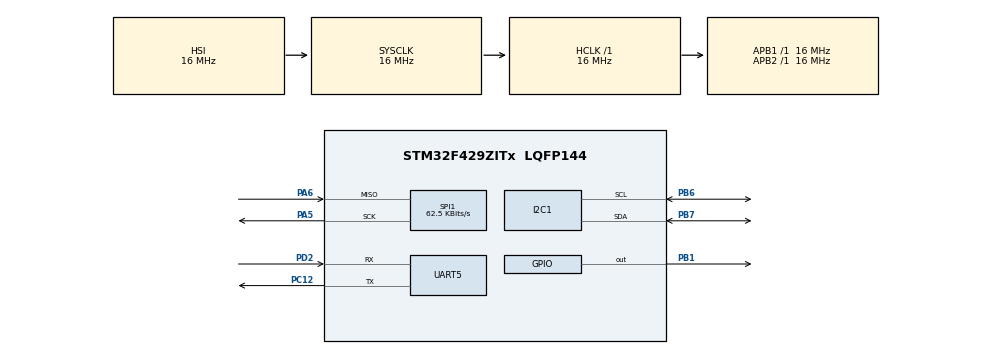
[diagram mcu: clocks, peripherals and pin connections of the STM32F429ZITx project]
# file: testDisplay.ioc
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Mcu.Family=STM32F4
Mcu.Name=STM32F429ZITx
Mcu.Package=LQFP144
NVIC.PriorityGroup=NVIC_PRIORITYGROUP_4
PA13.Mode=Serial_Wire
PA13.Signal=SYS_JTMS-SWDIO
PA14.Mode=Serial_Wire
PA14.Signal=SYS_JTCK-SWCLK
PA5.Mode=RX_Only_Simplex_Unidirect_Master
PA5.Signal=SPI1_SCK
PA6.Mode=RX_Only_Simplex_Unidirect_Master
PA6.Signal=SPI1_MISO
PB1.Signal=GPIO_Output
PB6.Mode=I2C
PB6.Signal=I2C1_SCL
PB7.Mode=I2C
PB7.Signal=I2C1_SDA
PC12.Mode=Asynchronous
PC12.Signal=UART5_TX
PD2.Mode=Asynchronous
PD2.Signal=UART5_RX
ProjectManager.HeapSize=0x200
ProjectManager.StackSize=0x400
ProjectManager.TargetToolchain=STM32CubeIDE
RCC.AHBFreq_Value=16000000
RCC.APB1Freq_Value=16000000
RCC.APB2Freq_Value=16000000
RCC.CortexFreq_Value=16000000
RCC.HSE_VALUE=25000000
RCC.HSI_VALUE=16000000
RCC.LSE_VALUE=32768
RCC.SYSCLKFreq_VALUE=16000000
RCC.VCOOutputFreq_Value=192000000
SPI1.BaudRatePrescaler=SPI_BAUDRATEPRESCALER_256
SPI1.CRCCalculation=SPI_CRCCALCULATION_DISABLE
SPI1.CalculateBaudRate=62.5 KBits/s
SPI1.DataSize=SPI_DATASIZE_16BIT
SPI1.Direction=SPI_DIRECTION_2LINES_RXONLY
SPI1.Mode=SPI_MODE_MASTER
SPI1.VirtualType=VM_MASTER
UART5.VirtualMode=Asynchronous
board=custom

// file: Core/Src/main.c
/* USER CODE BEGIN Header */
/**
  ******************************************************************************
  * @file           : main.c
  * @brief          : Main program body
  ******************************************************************************
  * @attention
  *
  * Copyright (c) 2025 STMicroelectronics.
  * All rights reserved.
  *
  * This software is licensed under terms that can be found in the LICENSE file
  * in the root directory of this software component.
  * If no LICENSE file comes with this software, it is provided AS-IS.
  *
  ******************************************************************************
  */
/* USER CODE END Header */
#include "main.h"

/* USER CODE BEGIN Includes */
#include "MAX6675.h"
#include "string.h"
/* USER CODE END Includes */

I2C_HandleTypeDef hi2c1;

extern SPI_HandleTypeDef hspi1;

UART_HandleTypeDef huart5;

/* USER CODE BEGIN PV */
float temp=0;
uint8_t temp_uint8;
/* USER CODE END PV */

void SystemClock_Config(void);
static void MX_GPIO_Init(void);
static void MX_I2C1_Init(void);
static void MX_UART5_Init(void);
static void MX_SPI1_Init(void);

/* USER CODE BEGIN 0 */
#include <string.h>
#include <stdio.h>

#define LCD_ADDR (0x27 << 1)

#define PIN_RS    (1 << 0)
#define PIN_EN    (1 << 2)
#define BACKLIGHT (1 << 3)

#define LCD_DELAY_MS 5

void I2C_Scan() {
    char info[] = "Scanning I2C bus...\r\n";
    HAL_UART_Transmit(&huart5, (uint8_t*)info, strlen(info), HAL_MAX_DELAY);

    HAL_StatusTypeDef res;
    for(uint16_t i = 0; i < 128; i++) {
        res = HAL_I2C_IsDeviceReady(&hi2c1, i << 1, 1, 10);
        if(res == HAL_OK) {
            char msg[64];
            snprintf(msg, sizeof(msg), "0x%02X", i);
            HAL_UART_Transmit(&huart5, (uint8_t*)msg, strlen(msg), HAL_MAX_DELAY);
        } else {
            HAL_UART_Transmit(&huart5, (uint8_t*)".", 1, HAL_MAX_DELAY);
        }
    }

    HAL_UART_Transmit(&huart5, (uint8_t*)"\r\n", 2, HAL_MAX_DELAY);
}

HAL_StatusTypeDef LCD_SendInternal(uint8_t lcd_addr, uint8_t data, uint8_t flags) {
    HAL_StatusTypeDef res;
    for(;;) {
        res = HAL_I2C_IsDeviceReady(&hi2c1, lcd_addr, 1, HAL_MAX_DELAY);
        if(res == HAL_OK)
            break;
    }

    uint8_t up = data & 0xF0;
    uint8_t lo = (data << 4) & 0xF0;

    uint8_t data_arr[4];
    data_arr[0] = up|flags|BACKLIGHT|PIN_EN;
    data_arr[1] = up|flags|BACKLIGHT;
    data_arr[2] = lo|flags|BACKLIGHT|PIN_EN;
    data_arr[3] = lo|flags|BACKLIGHT;

    res = HAL_I2C_Master_Transmit(&hi2c1, lcd_addr, data_arr, sizeof(data_arr), HAL_MAX_DELAY);
    HAL_Delay(LCD_DELAY_MS);
    return res;
}

void LCD_SendCommand(uint8_t lcd_addr, uint8_t cmd) {
    LCD_SendInternal(lcd_addr, cmd, 0);
}

void LCD_SendData(uint8_t lcd_addr, uint8_t data) {
    LCD_SendInternal(lcd_addr, data, PIN_RS);
}

void LCD_Init(uint8_t lcd_addr) {
    // 4-bit mode, 2 lines, 5x7 format
    LCD_SendCommand(lcd_addr, 0b00110000);
    // display & cursor home (keep this!)
    LCD_SendCommand(lcd_addr, 0b00000010);
    // display on, right shift, underline off, blink off
    LCD_SendCommand(lcd_addr, 0b00001100);
    // clear display (optional here)
    LCD_SendCommand(lcd_addr, 0b00000001);
}

void LCD_SendString(uint8_t lcd_addr, char *str) {
    while(*str) {
        LCD_SendData(lcd_addr, (uint8_t)(*str));
        str++;
    }
}

void init() {
    I2C_Scan();
    LCD_Init(LCD_ADDR);

    // set address to 0x00
    LCD_SendCommand(LCD_ADDR, 0b10000000);
    LCD_SendString(LCD_ADDR, " Using 1602 LCD");

    // set address to 0x40

}

void IntToString(int value, char* buffer) {
    // Указатель на текущую позицию в буфере
    char* ptr = buffer;

    // Обработка отрицательных значений
    if (value < 0) {
        *ptr++ = '-';
        value = -value; // Делаем значение положительным для дальнейших расчетов
    }

    // Получение целых цифр
    int temp = value;
    int digits = 0;

    // Подсчет количества цифр
    do {
        digits++;
        temp /= 10;
    } while (temp > 0);

    // Заполнение буфера с конца
    ptr += digits; // Перемещаем указатель на конец буфера
    *ptr-- = '\0'; // Завершаем строку нулевым символом

    do {
        *ptr-- = '0' + (value % 10); // Получаем последнюю цифру и записываем её в буфер
        value /= 10; // Убираем последнюю цифру из числа
    } while (value > 0);

    // Если число было отрицательным, добавляем знак минус в начало
    if (buffer[0] == '-') {
        buffer[1] = '-';
        buffer[2] = '\0'; // Завершаем строку нулевым символом после знака минус
    }
}

void loop() {
	LCD_SendCommand(LCD_ADDR, 0b00000001);
	HAL_Delay(50);
	char buffer[16];
	temp=Max6675_Read_Temp();
	temp_uint8 = (uint8_t)(temp);
	IntToString(temp_uint8, buffer);
	LCD_SendCommand(LCD_ADDR, 0b10000000);
	LCD_SendString(LCD_ADDR, "t=");
	HAL_Delay(1000);
	LCD_SendCommand(LCD_ADDR, 0b11000000);
	LCD_SendString(LCD_ADDR, buffer);
    HAL_Delay(1000);

//    LCD_SendCommand(LCD_ADDR, 0b11000000);
//    LCD_SendData(LCD_ADDR, temp);
//    HAL_Delay(1000);

}
/* USER CODE END 0 */

int main(void)
{

  /* MCU Configuration--------------------------------------------------------*/

  /* Reset of all peripherals, Initializes the Flash interface and the Systick. */
  HAL_Init();

  /* Configure the system clock */
  SystemClock_Config();

  /* Initialize all configured peripherals */
  MX_GPIO_Init();
  MX_I2C1_Init();
  MX_UART5_Init();
  MX_SPI1_Init();
  /* USER CODE BEGIN 2 */
//  I2C_send(0b00110000,0);   // 8ми битный интерфейс
//  I2C_send(0b00000010,0);   // установка курсора в начале строки
//  I2C_send(0b00001100,0);   // нормальный режим работы, выкл курсор
//  I2C_send(0b00000001,0);   // очистка дисплея
  init();
  /* USER CODE END 2 */

  /* Infinite loop */
  /* USER CODE BEGIN WHILE */
  while (1)
  {
//	  LCD_SendString("  Hello");
//	   I2C_send(0b11000000,0);   // перевод строки
//	   LCD_SendString("    Habr");

	  loop();
    /* USER CODE END WHILE */

  }
}

void SystemClock_Config(void)
{
  RCC_OscInitTypeDef RCC_OscInitStruct = {0};
  RCC_ClkInitTypeDef RCC_ClkInitStruct = {0};

  /** Configure the main internal regulator output voltage
  */
  __HAL_RCC_PWR_CLK_ENABLE();
  __HAL_PWR_VOLTAGESCALING_CONFIG(PWR_REGULATOR_VOLTAGE_SCALE3);

  /** Initializes the RCC Oscillators according to the specified parameters
  * in the RCC_OscInitTypeDef structure.
  */
  RCC_OscInitStruct.OscillatorType = RCC_OSCILLATORTYPE_HSI;
  RCC_OscInitStruct.HSIState = RCC_HSI_ON;
  RCC_OscInitStruct.HSICalibrationValue = RCC_HSICALIBRATION_DEFAULT;
  RCC_OscInitStruct.PLL.PLLState = RCC_PLL_NONE;
  if (HAL_RCC_OscConfig(&RCC_OscInitStruct) != HAL_OK)
  {
    Error_Handler();
  }

  /** Initializes the CPU, AHB and APB buses clocks
  */
  RCC_ClkInitStruct.ClockType = RCC_CLOCKTYPE_HCLK|RCC_CLOCKTYPE_SYSCLK
                              |RCC_CLOCKTYPE_PCLK1|RCC_CLOCKTYPE_PCLK2;
  RCC_ClkInitStruct.SYSCLKSource = RCC_SYSCLKSOURCE_HSI;
  RCC_ClkInitStruct.AHBCLKDivider = RCC_SYSCLK_DIV1;
  RCC_ClkInitStruct.APB1CLKDivider = RCC_HCLK_DIV1;
  RCC_ClkInitStruct.APB2CLKDivider = RCC_HCLK_DIV1;

  if (HAL_RCC_ClockConfig(&RCC_ClkInitStruct, FLASH_LATENCY_0) != HAL_OK)
  {
    Error_Handler();
  }
}

static void MX_I2C1_Init(void)
{

  hi2c1.Instance = I2C1;
  hi2c1.Init.ClockSpeed = 100000;
  hi2c1.Init.DutyCycle = I2C_DUTYCYCLE_2;
  hi2c1.Init.OwnAddress1 = 0;
  hi2c1.Init.AddressingMode = I2C_ADDRESSINGMODE_7BIT;
  hi2c1.Init.DualAddressMode = I2C_DUALADDRESS_DISABLE;
  hi2c1.Init.OwnAddress2 = 0;
  hi2c1.Init.GeneralCallMode = I2C_GENERALCALL_DISABLE;
  hi2c1.Init.NoStretchMode = I2C_NOSTRETCH_DISABLE;
  if (HAL_I2C_Init(&hi2c1) != HAL_OK)
  {
    Error_Handler();
  }

  /** Configure Analogue filter
  */
  if (HAL_I2CEx_ConfigAnalogFilter(&hi2c1, I2C_ANALOGFILTER_ENABLE) != HAL_OK)
  {
    Error_Handler();
  }

  /** Configure Digital filter
  */
  if (HAL_I2CEx_ConfigDigitalFilter(&hi2c1, 0) != HAL_OK)
  {
    Error_Handler();
  }

}

static void MX_SPI1_Init(void)
{

  /* SPI1 parameter configuration*/
  hspi1.Instance = SPI1;
  hspi1.Init.Mode = SPI_MODE_MASTER;
  hspi1.Init.Direction = SPI_DIRECTION_2LINES_RXONLY;
  hspi1.Init.DataSize = SPI_DATASIZE_16BIT;
  hspi1.Init.CLKPolarity = SPI_POLARITY_LOW;
  hspi1.Init.CLKPhase = SPI_PHASE_1EDGE;
  hspi1.Init.NSS = SPI_NSS_SOFT;
  hspi1.Init.BaudRatePrescaler = SPI_BAUDRATEPRESCALER_256;
  hspi1.Init.FirstBit = SPI_FIRSTBIT_MSB;
  hspi1.Init.TIMode = SPI_TIMODE_DISABLE;
  hspi1.Init.CRCCalculation = SPI_CRCCALCULATION_DISABLE;
  hspi1.Init.CRCPolynomial = 10;
  if (HAL_SPI_Init(&hspi1) != HAL_OK)
  {
    Error_Handler();
  }

}

static void MX_UART5_Init(void)
{

  huart5.Instance = UART5;
  huart5.Init.BaudRate = 115200;
  huart5.Init.WordLength = UART_WORDLENGTH_8B;
  huart5.Init.StopBits = UART_STOPBITS_1;
  huart5.Init.Parity = UART_PARITY_NONE;
  huart5.Init.Mode = UART_MODE_TX_RX;
  huart5.Init.HwFlowCtl = UART_HWCONTROL_NONE;
  huart5.Init.OverSampling = UART_OVERSAMPLING_16;
  if (HAL_UART_Init(&huart5) != HAL_OK)
  {
    Error_Handler();
  }

}

static void MX_GPIO_Init(void)
{
  GPIO_InitTypeDef GPIO_InitStruct = {0};

  /* GPIO Ports Clock Enable */
  __HAL_RCC_GPIOA_CLK_ENABLE();
  __HAL_RCC_GPIOB_CLK_ENABLE();
  __HAL_RCC_GPIOC_CLK_ENABLE();
  __HAL_RCC_GPIOD_CLK_ENABLE();

  /*Configure GPIO pin Output Level */
  HAL_GPIO_WritePin(GPIOB, GPIO_PIN_1, GPIO_PIN_RESET);

  /*Configure GPIO pin : PB1 */
  GPIO_InitStruct.Pin = GPIO_PIN_1;
  GPIO_InitStruct.Mode = GPIO_MODE_OUTPUT_PP;
  GPIO_InitStruct.Pull = GPIO_NOPULL;
  GPIO_InitStruct.Speed = GPIO_SPEED_FREQ_LOW;
  HAL_GPIO_Init(GPIOB, &GPIO_InitStruct);

}

/* USER CODE BEGIN 4 */
//void I2C_Scan ()
//{
//	// создание переменной, содержащей статус
//        HAL_StatusTypeDef res;
//	// сообщение о начале процедуры
//        char info[] = "Scanning I2C bus...\r\n";
//        // отправка сообщения по UART
//        HAL_UART_Transmit(&huart5, (uint8_t*)info, strlen(info), HAL_MAX_DELAY);
//	/* &huart5 - адрес используемого UART
//	 * (uint8_t*)info - указатель на значение для отправки
//	 * strlen(info) - длина отправляемого сообщения
//	 * HAL_MAX_DELAY - задержка
//	 */
//        // перебор всех возможных адресов
//	for(uint16_t i = 0; i < 128; i++)
//	{
//            // проверяем, готово ли устройство по адресу i для связи
//            res = HAL_I2C_IsDeviceReady(&hi2c1, i << 1, 1, HAL_MAX_DELAY);
//	    // если да, то
//            if(res == HAL_OK)
//	    {
//	    	char msg[64];
//	    	// запись адреса i, на который откликнулись, в строку в виде
//                // 16тиричного значения:
//	    	snprintf(msg, sizeof(msg), "0x%02X", i);
//	    	// отправка номера откликнувшегося адреса
//	    	HAL_UART_Transmit(&huart5, (uint8_t*)msg, strlen(msg), HAL_MAX_DELAY);
//	    	// переход на новую строчку
//	    	HAL_UART_Transmit(&huart5, (uint8_t*)"\r\n", 2, HAL_MAX_DELAY);
//	    }
//	    else HAL_UART_Transmit(&huart5, (uint8_t*)".", 1, HAL_MAX_DELAY);
//	}
//	HAL_UART_Transmit(&huart5, (uint8_t*)"\r\n", 2, HAL_MAX_DELAY);
//}

//void I2C_send(uint8_t data, uint8_t flags)
//{
//	HAL_StatusTypeDef res;
//	 // бесконечный цикл
//        for(;;) {
//                // проверяем, готово ли устройство по адресу lcd_addr для связи
//	        res = HAL_I2C_IsDeviceReady(&hi2c1, LCD_ADDR, 1, HAL_MAX_DELAY);
//	         // если да, то выходим из бесконечного цикла
//                if(res == HAL_OK) break;
//	    }
//        // операция �? с 1111 0000 приводит к обнулению бит с 0 по 3, остаются биты с 4 по 7
//	uint8_t up = data & 0xF0;
//        // то же самое, но data сдвигается на 4 бита влево
//        uint8_t lo = (data << 4) & 0xF0;
//
//	uint8_t data_arr[4];
//         // 4-7 биты содержат информацию, биты 0-3 настраивают работу дисплея
//	data_arr[0] = up|flags|BACKLIGHT|PIN_EN;
//         // дублирование сигнала, на выводе Е в этот раз 0
//	data_arr[1] = up|flags|BACKLIGHT;
//	data_arr[2] = lo|flags|BACKLIGHT|PIN_EN;
//	data_arr[3] = lo|flags|BACKLIGHT;
//
//	HAL_I2C_Master_Transmit(&hi2c1, LCD_ADDR, data_arr, sizeof(data_arr), HAL_MAX_DELAY);
//	HAL_Delay(LCD_DELAY_MS);
//}
//
//
//
//void LCD_SendString(char *str)
//{
//    // *char по сути является строкой
//    // пока строчка не закончится
//	while(*str)
//        {
//                // передача первого символа строки
//		I2C_send((uint8_t)(*str), 1);
//                // сдвиг строки налево на 1 символ
//                str++;
//        }
//}
/* USER CODE END 4 */

void Error_Handler(void)
{
  __disable_irq();
  while (1)
  {
  }
}
